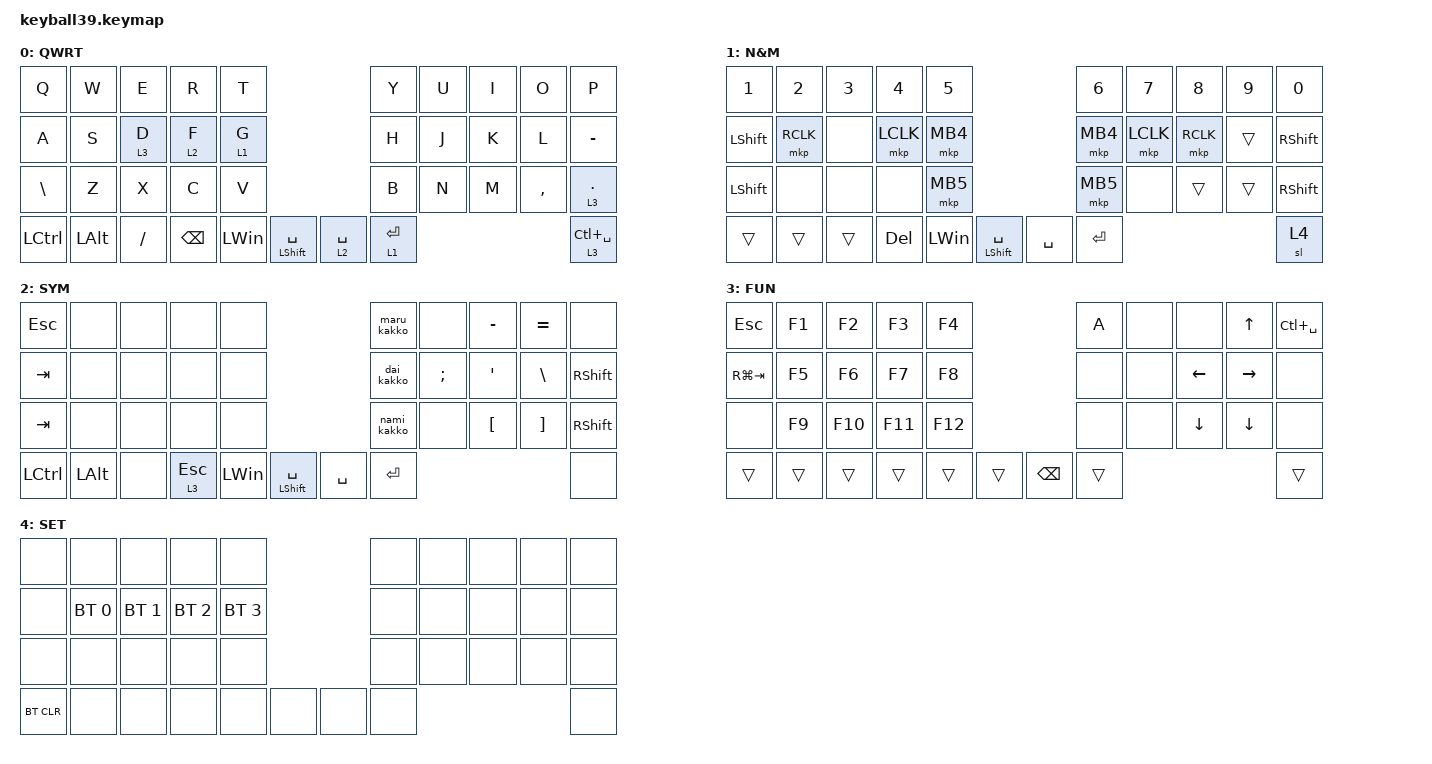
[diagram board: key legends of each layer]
#define DEFAULT 0
#define NUM     1
#define SYM     2
#define FUN     3
#define MOUSE   4
#define SCROLL  5
#define SNIPE   6

#include <behaviors/mouse_keys.dtsi>
#include <dt-bindings/zmk/mouse.h>
#include <behaviors.dtsi>
#include <dt-bindings/zmk/bt.h>
#include <dt-bindings/zmk/keys.h>

&lt {
    tapping-term-ms = <240>;
    flavor = "balanced";
    quick-tap-ms = <150>;
};

&mt {
    tapping-term-ms = <200>;
    flavor = "tap-preferred";
    quick-tap-ms = <150>;
};

&caps_word { continue-list = <UNDERSCORE MINUS>; };

/ {
    // custom shift using mod-morph 

    behaviors {
        cmqus: comma_question {
            compatible = "zmk,behavior-mod-morph";
            label = "COMMA_QUESTION";
            #binding-cells = <0>;
            bindings = <&kp COMMA>, <&kp QUESTION>;

            mods = <(MOD_LSFT|MOD_RSFT)>;
        };

        dtsmi: dot_semi {
            compatible = "zmk,behavior-mod-morph";
            label = "DOT_SEMI";
            #binding-cells = <0>;
            bindings = <&kp DOT>, <&kp SEMI>;

            mods = <(MOD_LSFT|MOD_RSFT)>;
        };
    };

    macros {
        Hiragana: Hiragana {
            compatible = "zmk,behavior-macro";
            #binding-cells = <0>;
            bindings = <&kp LC(SPACE)>, <&macro_press>;

            label = "HIRAGANA";
        };

        maru_kakko: maru_kakko {
            compatible = "zmk,behavior-macro";
            #binding-cells = <0>;
            bindings = <&kp LEFT_PARENTHESIS &kp RIGHT_PARENTHESIS>;
            label = "MARU_KAKKO";
        };

        dai_kakko: dai_kakko {
            compatible = "zmk,behavior-macro";
            #binding-cells = <0>;
            bindings = <&kp LEFT_BRACKET &kp RIGHT_BRACKET>;
            label = "DAI_KAKKO";
        };

        nami_kakko: nami_kakko {
            compatible = "zmk,behavior-macro";
            #binding-cells = <0>;
            bindings = <&kp LEFT_BRACE &kp RIGHT_BRACE>;
            label = "NAMI_KAKKO";
        };

        str: commonPassword {
            compatible = "zmk,behavior-macro";
            #binding-cells = <0>;
            bindings = <&kp N7 &kp K &kp O &kp R &kp N0 &kp N1 &kp M &kp A>;
            label = "COMMONPASSWORD";
        };

        PrintScreen: Printscreen {
            compatible = "zmk,behavior-macro";
            #binding-cells = <0>;
            bindings = <&kp LS(RG(N5))>;
            label = "PRINTSCREEN";
        };
    };

    combos { compatible = "zmk,combos"; };

    keymap {
        compatible = "zmk,keymap";

        default_layer {
            label = "QWRT";
            bindings = <
&kp Q             &kp W         &kp E     &kp R          &kp T                                            &kp Y        &kp U  &kp I  &kp O      &kp P
&kp A             &kp S         &lt 3 D   &lt 2 F        &lt 1 G                                          &kp H        &kp J  &kp K  &kp L      &kp MINUS
&kp BSLH          &kp Z         &kp X     &kp C          &kp V                                            &kp B        &kp N  &kp M  &kp COMMA  &lt 3 DOT
&kp LEFT_CONTROL  &kp LEFT_ALT  &kp FSLH  &kp BACKSPACE  &kp LEFT_WIN  &mt LEFT_SHIFT SPACE  &lt 2 SPACE  &lt 1 ENTER                           &lt 3 LC(SPACE)
            >;
        };

        number_and_mouse_layer {
            label = "N&M";
            bindings = <
&kp NUMBER_1    &kp NUMBER_2  &kp NUMBER_3  &kp NUMBER_4  &kp NUMBER_5                                   &kp NUMBER_6  &kp NUMBER_7  &kp NUMBER_8  &kp NUMBER_9  &kp NUMBER_0
&kp LEFT_SHIFT  &mkp RCLK     &none         &mkp LCLK     &mkp MB4                                       &mkp MB4      &mkp LCLK     &mkp RCLK     &trans        &kp RSHFT
&kp LEFT_SHIFT  &none         &none         &none         &mkp MB5                                       &mkp MB5      &none         &trans        &trans        &kp RSHFT
&trans          &trans        &trans        &kp DELETE    &kp LEFT_WIN  &mt LEFT_SHIFT SPACE  &kp SPACE  &kp ENTER                                               &sl 4
            >;
        };

        symbol_layer {
            label = "SYM";
            bindings = <
&kp ESC           &none         &none  &none         &none                                          &maru_kakko  &none     &kp MINUS  &kp EQUAL  &none
&kp TAB           &none         &none  &none         &none                                          &dai_kakko   &kp SEMI  &kp APOS   &kp BSLH   &kp RSHFT
&kp TAB           &none         &none  &none         &none                                          &nami_kakko  &none     &kp LBKT   &kp RBKT   &kp RSHFT
&kp LEFT_CONTROL  &kp LEFT_ALT  &none  &lt 3 ESCAPE  &kp LEFT_WIN  &mt LEFT_SHIFT SPACE  &kp SPACE  &kp ENTER                                    &none
            >;
        };

        function_layer {
            label = "FUN";
            bindings = <
&kp ESC      &kp F1  &kp F2   &kp F3   &kp F4                          &kp A   &none  &none           &kp UP_ARROW     &kp LC(SPACE)
&kp RG(TAB)  &kp F5  &kp F6   &kp F7   &kp F8                          &none   &none  &kp LEFT_ARROW  &kp RIGHT_ARROW  &none
&none        &kp F9  &kp F10  &kp F11  &kp F12                         &none   &none  &kp DOWN_ARROW  &kp DOWN_ARROW   &none
&trans       &trans  &trans   &trans   &trans   &trans  &kp BACKSPACE  &trans                                          &trans
            >;
        };

        settiing {
            bindings = <
&none       &none         &none         &none         &none                       &none  &none  &none  &none  &none
&none       &bt BT_SEL 0  &bt BT_SEL 1  &bt BT_SEL 2  &bt BT_SEL 3                &none  &none  &none  &none  &none
&none       &none         &none         &none         &none                       &none  &none  &none  &none  &none
&bt BT_CLR  &none         &none         &none         &none         &none  &none  &none                       &none
            >;

            label = "SET";
        };
    };
};
